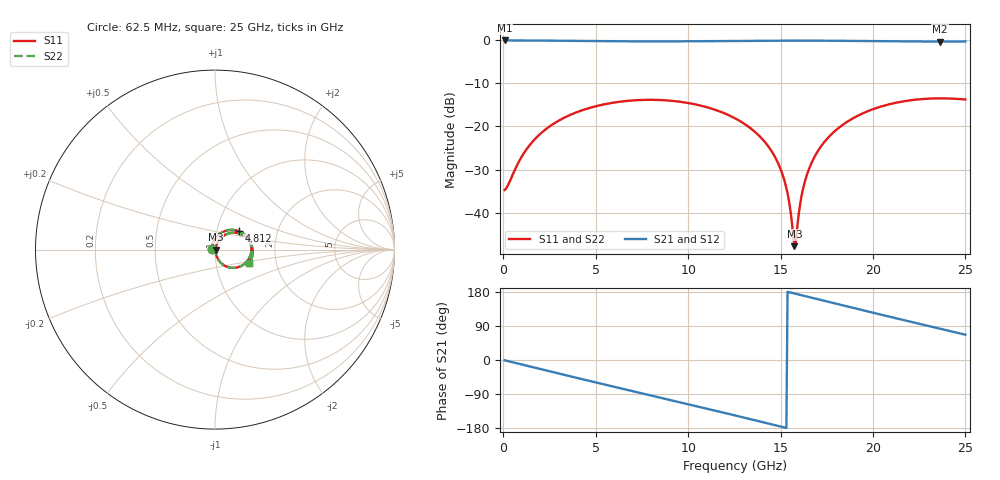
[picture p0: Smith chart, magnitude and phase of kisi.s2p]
! thru_BV_ts_refinout2_q070f25s_out: 2×thru B.Cu, 6 mm
! stackup: as the board case
! ports: 1 near, 2 far
! kisi-fdtd, conformal, dfine 0.07 mm, 144585 cells
# Hz S RI R 50
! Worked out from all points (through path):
!   400 points, 62.5 MHz to 25 GHz, reference 50 ohm
!   highest |S21| = -0.16 dB at 62.5 MHz (marker M1); lowest = -0.4 dB at 23.62 GHz (marker M2)
!   group delay of S21, straight-line fit = 32.6 ps
!   lowest |S11| = -47.6 dB at 15.75 GHz (marker M3), VSWR 1.01, Z = 50.4 - j0.0969 ohm
!   |S11| at or under -10 dB: start of sweep to end of sweep
!   |S22| runs from -47.6 to -13.5 dB; largest |S21 - S12| = 0
!   S11 on the Smith chart (normalised r, x): 62.5 MHz: 0.96, +0.01; 4.812 GHz: 1.27, +0.27; 25 GHz: 1.45, -0.23
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6.25e7  -0.0183 0.00286  0.982 -0.0128  0.982 -0.0128  -0.0183 0.00286
1e9  -0.00886 0.0443  0.9601 -0.2033  0.9601 -0.2033  -0.00886 0.0443
1.75e9  0.00942 0.0726  0.9153 -0.3498  0.9153 -0.3498  0.00942 0.0726
4.25e9  0.1078 0.109  0.6168 -0.7481  0.6168 -0.7481  0.1078 0.109
4.8125e9  0.1311 0.1032  0.5257 -0.8115  0.5257 -0.8115  0.1311 0.1032
6.625e9  0.1885 0.055  0.1995 -0.9388  0.1995 -0.9388  0.1885 0.055
8.375e9  0.2015 -0.0154  -0.1341 -0.9481  -0.1341 -0.9481  0.2015 -0.0154
1.04375e10  0.1571 -0.085  -0.5062 -0.8174  -0.5062 -0.8174  0.1571 -0.085
1.25625e10  0.0744 -0.0981  -0.8091 -0.5339  -0.8091 -0.5339  0.0744 -0.0981
1.39375e10  0.028 -0.0688  -0.9308 -0.287  -0.9308 -0.287  0.028 -0.0688
1.4875e10  0.00911 -0.0361  -0.971 -0.1011  -0.971 -0.1011  0.00911 -0.0361
1.5375e10  0.00463 -0.0162  -0.9769 0.000695  -0.9769 0.000695  0.00463 -0.0162
1.55625e10  0.00403 -0.00862  -0.9762 0.039  -0.9762 0.039  0.00403 -0.00862
1.575e10  0.00404 -0.000961  -0.9741 0.0773  -0.9741 0.0773  0.00404 -0.000961
1.58125e10  0.00417 0.00159  -0.973 0.09  -0.973 0.09  0.00417 0.00159
1.6e10  0.00498 0.00922  -0.9687 0.1282  -0.9687 0.1282  0.00498 0.00922
1.61875e10  0.00639 0.0168  -0.9629 0.1661  -0.9629 0.1661  0.00639 0.0168
1.66875e10  0.013 0.0362  -0.9398 0.2658  -0.9398 0.2658  0.013 0.0362
1.825e10  0.0571 0.0825  -0.8017 0.5511  -0.8017 0.5511  0.0571 0.0825
2.0875e10  0.1629 0.0765  -0.3979 0.8749  -0.3979 0.8749  0.1629 0.0765
2.3625e10  0.2096 -0.0239  0.1228 0.9458  0.1228 0.9458  0.2096 -0.0239
2.5e10  0.1896 -0.0763  0.3781 0.8779  0.3781 0.8779  0.1896 -0.0763
